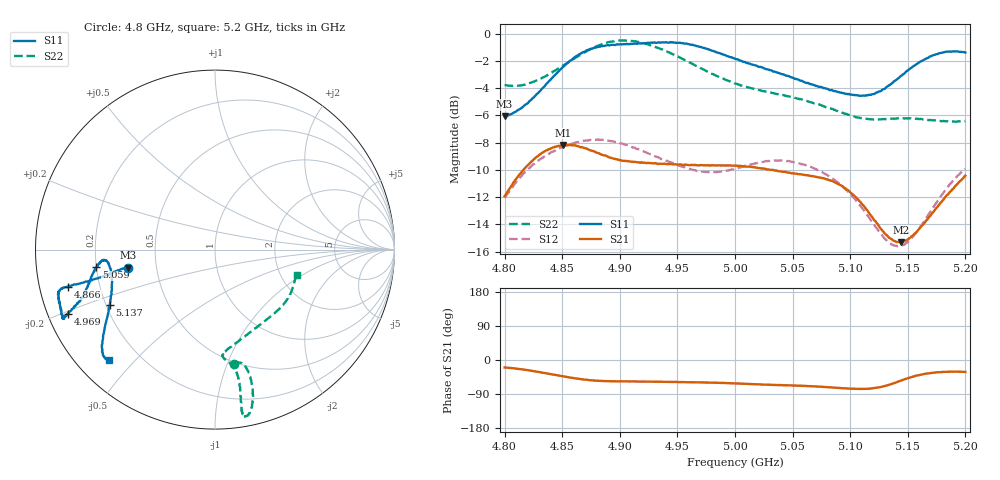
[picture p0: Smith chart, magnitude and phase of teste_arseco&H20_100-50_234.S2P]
! Network Analyzer HP8722D
! Hewlett-Packard
! Data name: Linha & Wilkinson
! Saver's name: Rodrigo Anjos
! Comments: Teste da utilização de aquisição
! continua pelo VNA HP8722D
! Time and date: 6/5/2025 14:31
!  Frequency  S11  S21  S12  S22
# HZ  S  MA R 50
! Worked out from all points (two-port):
!   401 points, 4.8 GHz to 5.2 GHz, reference 50 ohm
!   highest |S21| = -8.17 dB at 4.851 GHz (marker M1); lowest = -15.3 dB at 5.144 GHz (marker M2)
!   |S21| within 3 dB of the highest: 4.806 GHz to 5.093 GHz (286.6 MHz wide, 5.79 % of centre); 5.191529 GHz to end of sweep
!   lowest |S11| = -6.1 dB at 4.8 GHz (marker M3), VSWR 2.98, Z = 17 - j4.56 ohm
!   |S11| at or under -10 dB: nowhere
!   |S22| runs from -6.5 to -0.5 dB; largest |S21 - S12| = 0.62
!   S11 on the Smith chart (normalised r, x): 4.8 GHz: 0.34, -0.09; 4.866 GHz: 0.09, -0.12; 4.969 GHz: 0.06, -0.21; 5.059 GHz: 0.20, -0.07; 5.137 GHz: 0.22, -0.23; 5.2 GHz: 0.09, -0.43
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4.8e9  0.4971 -168.2  0.2526 -19.8  0.2493 -141.0  0.6484 -80.4
4.824e9  0.5777 -167.5  0.3407 -28.9  0.3286 -144.2  0.6634 -75.8
4.851e9  0.7565 -165.9  0.3905 -43.5  0.3844 -149.4  0.7656 -74.6
4.866e9  0.8445 -165.9  0.3823 -50.3  0.4017 -151.9  0.8369 -75.4
4.867e9  0.8498 -165.7  0.3837 -50.8  0.4026 -152.1  0.8427 -75.4
4.88e9  0.8908 -165.5  0.3657 -54.6  0.4081 -154.3  0.9002 -76.8
4.899e9  0.9125 -162.9  0.3436 -56.6  0.3978 -156.7  0.9432 -79.0
4.914e9  0.9189 -159.7  0.3377 -56.5  0.3783 -157.2  0.9377 -80.3
4.934e9  0.9288 -156.5  0.3325 -57.5  0.3508 -155.8  0.8832 -80.5
4.969e9  0.8939 -156.5  0.328 -59.0  0.3126 -147.4  0.7523 -79.6
5e9  0.8094 -159.1  0.3279 -61.8  0.3199 -137.3  0.6559 -81.3
5.036e9  0.7213 -165.6  0.3144 -66.1  0.3423 -134.5  0.6007 -85.7
5.059e9  0.6675 -171.6  0.3033 -68.2  0.3314 -136.2  0.5713 -84.6
5.067e9  0.6507 -173.1  0.3001 -69.1  0.3224 -136.8  0.5583 -82.7
5.099e9  0.6008 -172.7  0.2639 -75.5  0.2604 -139.0  0.5026 -67.8
5.115e9  0.5937 -166.0  0.224 -75.9  0.2151 -135.8  0.4862 -56.5
5.134e9  0.647 -154.3  0.1778 -65.2  0.1705 -120.6  0.4869 -43.3
5.137e9  0.6615 -152.4  0.1744 -62.2  0.1678 -116.8  0.4877 -41.4
5.144e9  0.6993 -148.7  0.1715 -54.6  0.1661 -107.4  0.4893 -37.5
5.155e9  0.7599 -144.1  0.1825 -43.6  0.1808 -94.0  0.4887 -31.8
5.173e9  0.8358 -138.9  0.224 -33.3  0.2333 -80.8  0.4809 -24.3
5.2e9  0.8527 -133.6  0.3011 -31.4  0.3195 -76.9  0.4778 -17.6
